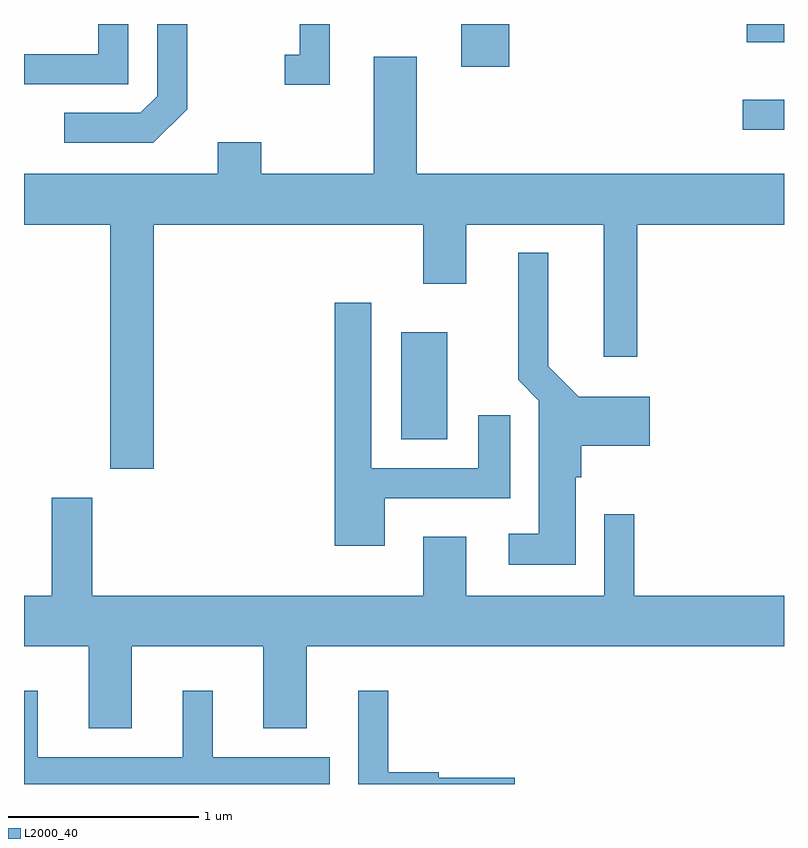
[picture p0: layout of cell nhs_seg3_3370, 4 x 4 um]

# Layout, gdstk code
import gdstk
lib = gdstk.Library(unit=1e-6, precision=1e-09)
def R(c, l, rs):  # rectangles x0, y0, x1, y1
    for r in rs: c.add(gdstk.rectangle(r[:2], r[2:], *l))
def P(c, l, *ps):  # polygons
    for p in ps: c.add(gdstk.Polygon(p, *l))
L2000_40 = (2000, 40)

nhs_seg3_3370 = lib.new_cell('nhs_seg3_3370')
R(nhs_seg3_3370, L2000_40, [(285.596,1193.706,285.839,1194.269), (287.393,1195.336,287.611,1195.494), (285.911,1195.666,286.164,1195.892), (287.416,1195.796,287.611,1195.892)])
P(nhs_seg3_3370, L2000_40, [(284.469,1195.444),(284.469,1195.892),(284.311,1195.892),(284.311,1195.512),(284.224,1195.424),(283.823,1195.424),(283.823,1195.266),(284.292,1195.266)],
  [(285.219,1195.892),(285.061,1195.892),(285.061,1195.729),(284.983,1195.729),(284.983,1195.571),(285.219,1195.571)],
  [(284.159,1195.892),(284.001,1195.892),(284.001,1195.734),(283.611,1195.734),(283.611,1195.576),(284.159,1195.576)],
  [(284.294,1194.836),(285.711,1194.836),(285.711,1194.526),(285.939,1194.526),(285.939,1194.836),(286.661,1194.836),(286.661,1194.141),(286.839,1194.141),(286.839,1194.836),(287.611,1194.836),(287.611,1195.104),(285.679,1195.104),(285.679,1195.719),(285.451,1195.719),(285.451,1195.104),(284.859,1195.104),(284.859,1195.269),(284.631,1195.269),(284.631,1195.104),(283.611,1195.104),(283.611,1194.836),(284.066,1194.836),(284.066,1193.551),(284.294,1193.551)],
  [(286.514,1193.506),(286.544,1193.506),(286.544,1193.671),(286.904,1193.671),(286.904,1193.929),(286.532,1193.929),(286.369,1194.092),(286.369,1194.688),(286.211,1194.688),(286.211,1194.019),(286.321,1193.909),(286.321,1193.209),(286.163,1193.209),(286.163,1193.046),(286.514,1193.046)],
  [(285.509,1193.396),(286.169,1193.396),(286.169,1193.833),(286.001,1193.833),(286.001,1193.554),(285.439,1193.554),(285.439,1194.424),(285.246,1194.424),(285.246,1193.146),(285.509,1193.146)],
  [(284.179,1192.616),(284.871,1192.616),(284.871,1192.186),(285.099,1192.186),(285.099,1192.616),(287.611,1192.616),(287.611,1192.884),(286.824,1192.884),(286.824,1193.313),(286.666,1193.313),(286.666,1192.884),(285.939,1192.884),(285.939,1193.194),(285.711,1193.194),(285.711,1192.884),(283.969,1192.884),(283.969,1193.399),(283.756,1193.399),(283.756,1192.884),(283.611,1192.884),(283.611,1192.616),(283.951,1192.616),(283.951,1192.186),(284.179,1192.186)],
  [(285.219,1192.034),(284.604,1192.034),(284.604,1192.383),(284.446,1192.383),(284.446,1192.034),(283.684,1192.034),(283.684,1192.383),(283.611,1192.383),(283.611,1191.892),(285.219,1191.892)],
  [(286.194,1191.924),(285.794,1191.924),(285.794,1191.954),(285.529,1191.954),(285.529,1192.383),(285.371,1192.383),(285.371,1191.892),(286.194,1191.892)])

lib.write_gds('nhs_seg3_3370.gds')
